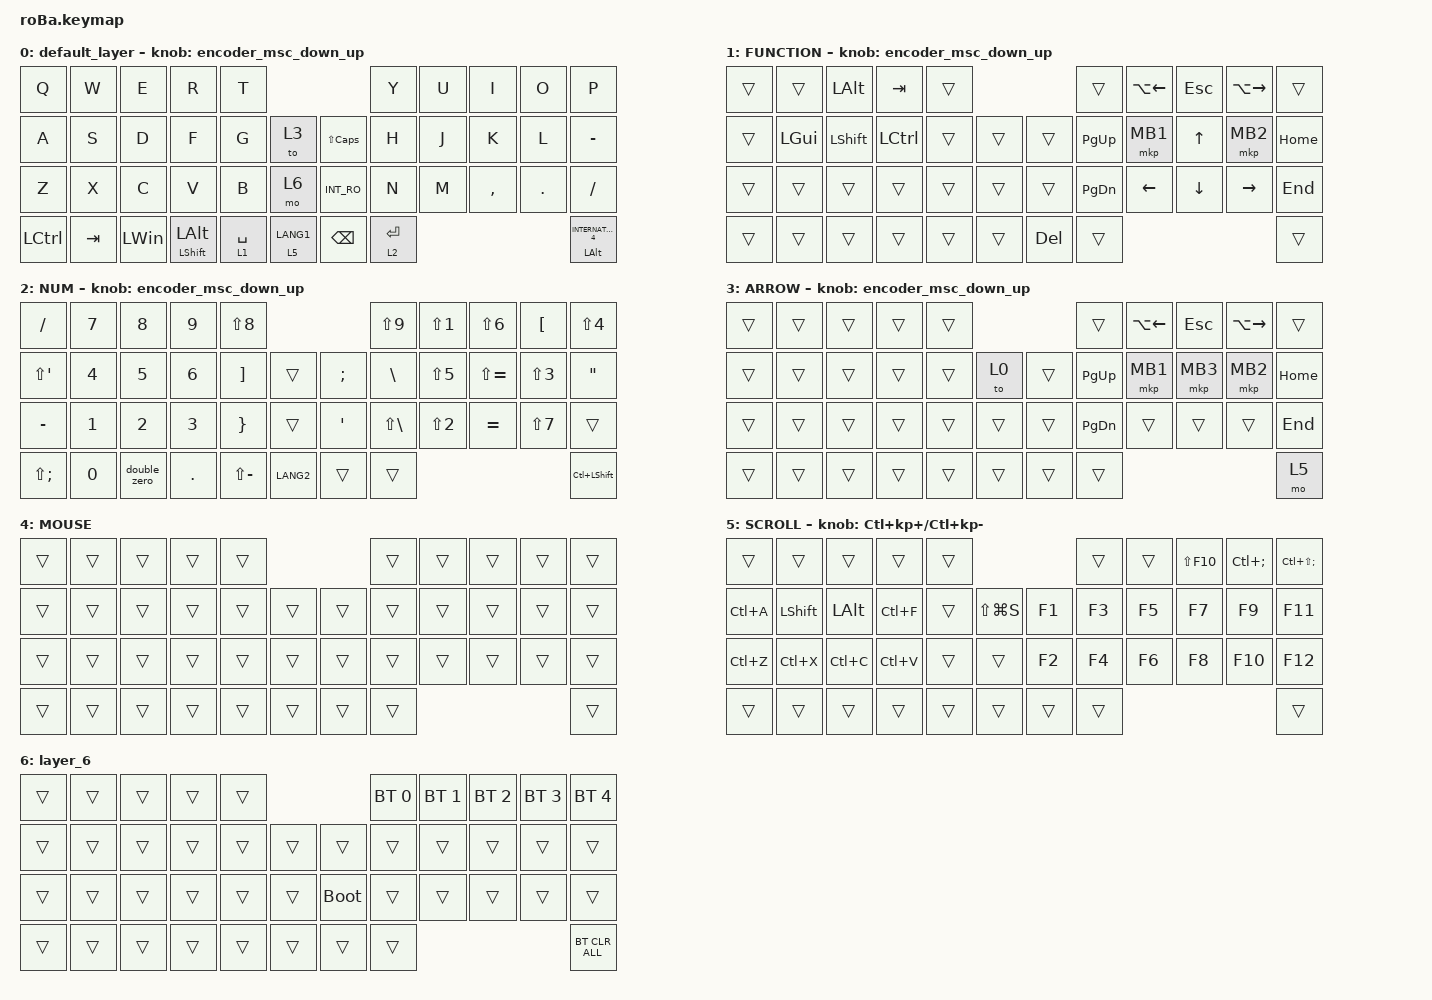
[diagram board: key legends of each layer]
#include <behaviors.dtsi>
#include <dt-bindings/zmk/bt.h>
#include <dt-bindings/zmk/keys.h>
#include <dt-bindings/zmk/pointing.h>

#define ZMK_POINTING_DEFAULT_SCRL_VAL 80

&mt {
    flavor = "balanced";
    quick-tap-ms = <0>;
};

&lt {
    flavor = "balanced";
    tapping-term-ms = <180>;
    quick-tap-ms = <0>;
};

&trackball {
    automouse-layer = <4>;
    scroll-layers = <5>;

    // arrows {
    //     layers = <3>;
    //     bindings =
    //         <&kp RIGHT_ARROW>,
    //         <&kp LEFT_ARROW>,
    //         <&kp UP_ARROW>,
    //         <&kp DOWN_ARROW>;
    //     tick = <10>;
    //     wait-ms = <5>;
    //     tap-ms = <5>;
    // };
};

/ {
    combos { compatible = "zmk,combos"; };

    behaviors {
        encoder_msc_down_up: encoder_msc_down_up {
            compatible = "zmk,behavior-sensor-rotate";
            label = "ENCODER_MSC_DOWN_UP";
            #sensor-binding-cells = <0>;
            bindings = <&msc SCRL_UP>, <&msc SCRL_DOWN>;

            tap-ms = <20>;
        };

        double_zero: double_zero {
            compatible = "zmk,behavior-macro";
            label = "DOUBLE_ZERO";
            #binding-cells = <0>;
            bindings = <&kp NUMBER_0 &kp NUMBER_0>;
        };
    };

    macros {
    };

    keymap {
        compatible = "zmk,keymap";

        default_layer {
            bindings = <
&kp Q      &kp W    &kp E         &kp R                    &kp T                                        &kp Y        &kp U  &kp I      &kp O    &kp P
&kp A      &kp S    &kp D         &kp F                    &kp G        &to 3            &kp LS(CAPS)   &kp H        &kp J  &kp K      &kp L    &kp MINUS
&kp Z      &kp X    &kp C         &kp V                    &kp B        &mo 6            &kp INT_RO     &kp N        &kp M  &kp COMMA  &kp DOT  &kp SLASH
&kp LCTRL  &kp TAB  &kp LEFT_WIN  &mt LEFT_SHIFT LEFT_ALT  &lt 1 SPACE  &lt 5 LANG1      &kp BACKSPACE  &lt 2 ENTER                             &mt LEFT_ALT INTERNATIONAL_4
            >;

            sensor-bindings = <&encoder_msc_down_up>;
        };

        FUNCTION {
            bindings = <
&trans  &trans    &kp LALT   &kp TAB    &trans                       &trans         &kp LA(LEFT)  &kp ESC   &kp LA(RIGHT)  &trans
&trans  &kp LGUI  &kp LSHFT  &kp LCTRL  &trans  &trans      &trans   &kp PAGE_UP    &mkp MB1      &kp UP    &mkp MB2       &kp HOME
&trans  &trans    &trans     &trans     &trans  &trans      &trans   &kp PAGE_DOWN  &kp LEFT      &kp DOWN  &kp RIGHT      &kp END
&trans  &trans    &trans     &trans     &trans  &trans      &kp DEL  &trans                                                &trans
            >;

            sensor-bindings = <&encoder_msc_down_up>;
        };

        NUM {
            bindings = <
&kp SLASH          &kp NUMBER_7  &kp NUMBER_8  &kp NUMBER_9  &kp LS(N8)                                       &kp LS(NUMBER_9)   &kp LS(NUMBER_1)  &kp LS(NUMBER_6)  &kp LEFT_BRACKET  &kp LS(NUMBER_4)
&kp LS(SQT)        &kp NUMBER_4  &kp NUMBER_5  &kp NUMBER_6  &kp RIGHT_BRACKET  &trans         &kp SEMICOLON  &kp BACKSLASH      &kp LS(NUMBER_5)  &kp LS(EQUAL)     &kp LS(NUMBER_3)  &kp DOUBLE_QUOTES
&kp MINUS          &kp NUMBER_1  &kp NUMBER_2  &kp NUMBER_3  &kp RIGHT_BRACE    &trans         &kp SQT        &kp LS(BACKSLASH)  &kp LS(NUMBER_2)  &kp EQUAL         &kp LS(NUMBER_7)  &trans
&kp LS(SEMICOLON)  &kp NUMBER_0  &double_zero  &kp PERIOD    &kp LS(MINUS)      &kp LANG2      &trans         &trans                                                                   &kp LC(LEFT_SHIFT)
            >;

            sensor-bindings = <&encoder_msc_down_up>;
        };

        ARROW {
            bindings = <
&trans  &trans  &trans  &trans  &trans                      &trans     &kp LA(LEFT)  &kp ESC   &kp LA(RIGHT)  &trans
&trans  &trans  &trans  &trans  &trans  &to 0       &trans  &kp PG_UP  &mkp MB1      &mkp MB3  &mkp MB2       &kp HOME
&trans  &trans  &trans  &trans  &trans  &trans      &trans  &kp PG_DN  &trans        &trans    &trans         &kp END
&trans  &trans  &trans  &trans  &trans  &trans      &trans  &trans                                            &mo 5
            >;

            sensor-bindings = <&encoder_msc_down_up>;
        };

        MOUSE {
            bindings = <
&trans  &trans  &trans  &trans  &trans                      &trans  &trans  &trans  &trans  &trans
&trans  &trans  &trans  &trans  &trans  &trans      &trans  &trans  &trans  &trans  &trans  &trans
&trans  &trans  &trans  &trans  &trans  &trans      &trans  &trans  &trans  &trans  &trans  &trans
&trans  &trans  &trans  &trans  &trans  &trans      &trans  &trans                          &trans
            >;
        };

        SCROLL {
            bindings = <
&trans     &trans          &trans        &trans     &trans                             &trans  &trans  &kp LS(F10)  &kp LC(SEMICOLON)  &kp LC(LS(SEMICOLON))
&kp LC(A)  &kp LEFT_SHIFT  &kp LEFT_ALT  &kp LC(F)  &trans  &kp LS(LG(S))      &kp F1  &kp F3  &kp F5  &kp F7       &kp F9             &kp F11
&kp LC(Z)  &kp LC(X)       &kp LC(C)     &kp LC(V)  &trans  &trans             &kp F2  &kp F4  &kp F6  &kp F8       &kp F10            &kp F12
&trans     &trans          &trans        &trans     &trans  &trans             &trans  &trans                                          &trans
            >;

            sensor-bindings = <&inc_dec_kp LC(KP_PLUS) LC(KP_MINUS)>;
        };

        layer_6 {
            bindings = <
&trans  &trans  &trans  &trans  &trans                           &bt BT_SEL 0  &bt BT_SEL 1  &bt BT_SEL 2  &bt BT_SEL 3  &bt BT_SEL 4
&trans  &trans  &trans  &trans  &trans  &trans      &trans       &trans        &trans        &trans        &trans        &trans
&trans  &trans  &trans  &trans  &trans  &trans      &bootloader  &trans        &trans        &trans        &trans        &trans
&trans  &trans  &trans  &trans  &trans  &trans      &trans       &trans                                                  &bt BT_CLR_ALL
            >;
        };
    };
};
